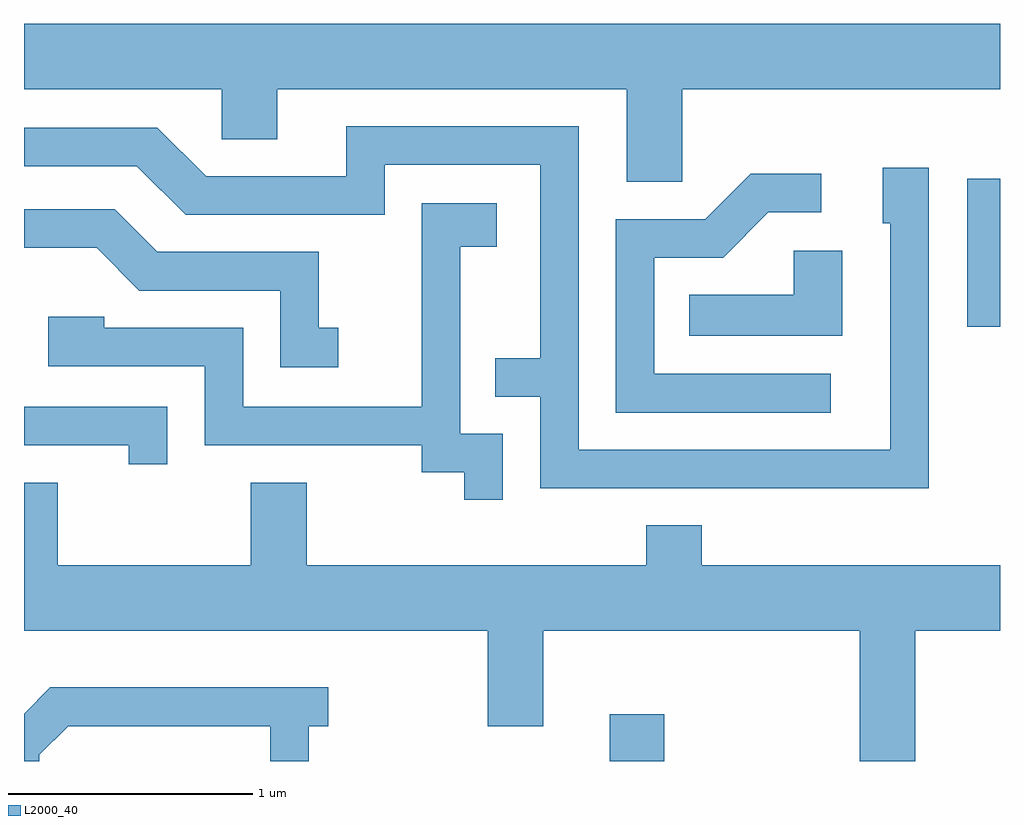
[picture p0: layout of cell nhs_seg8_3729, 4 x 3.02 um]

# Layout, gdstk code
import gdstk
lib = gdstk.Library(unit=1e-6, precision=1e-09)
def R(c, l, rs):  # rectangles x0, y0, x1, y1
    for r in rs: c.add(gdstk.rectangle(r[:2], r[2:], *l))
def P(c, l, *ps):  # polygons
    for p in ps: c.add(gdstk.Polygon(p, *l))
L2000_40 = (2000, 40)

nhs_seg8_3729 = lib.new_cell('nhs_seg8_3729')
R(nhs_seg8_3729, L2000_40, [(300.011,1820.342,300.234,1820.534), (301.476,1822.123,301.611,1822.729)])
P(nhs_seg8_3729, L2000_40, [(300.309,1823.096),(301.611,1823.096),(301.611,1823.364),(297.611,1823.364),(297.611,1823.096),(298.421,1823.096),(298.421,1822.891),(298.649,1822.891),(298.649,1823.096),(300.081,1823.096),(300.081,1822.716),(300.309,1822.716)],
  [(301.319,1822.774),(301.131,1822.774),(301.131,1822.546),(301.161,1822.546),(301.161,1821.619),(299.884,1821.619),(299.884,1822.944),(298.931,1822.944),(298.931,1822.739),(298.357,1822.739),(298.157,1822.939),(297.611,1822.939),(297.611,1822.781),(298.074,1822.781),(298.274,1822.581),(299.089,1822.581),(299.089,1822.786),(299.726,1822.786),(299.726,1821.994),(299.543,1821.994),(299.543,1821.836),(299.726,1821.836),(299.726,1821.461),(301.319,1821.461)],
  [(300.918,1821.929),(300.194,1821.929),(300.194,1822.406),(300.477,1822.406),(300.662,1822.591),(300.878,1822.591),(300.878,1822.749),(300.589,1822.749),(300.404,1822.564),(300.036,1822.564),(300.036,1821.771),(300.918,1821.771)],
  [(299.574,1821.684),(299.399,1821.684),(299.399,1822.451),(299.549,1822.451),(299.549,1822.629),(299.241,1822.629),(299.241,1821.794),(298.509,1821.794),(298.509,1822.119),(297.939,1822.119),(297.939,1822.164),(297.711,1822.164),(297.711,1821.961),(298.351,1821.961),(298.351,1821.636),(299.241,1821.636),(299.241,1821.526),(299.416,1821.526),(299.416,1821.413),(299.574,1821.413)],
  [(298.898,1822.119),(298.819,1822.119),(298.819,1822.429),(298.157,1822.429),(297.982,1822.604),(297.611,1822.604),(297.611,1822.446),(297.909,1822.446),(298.084,1822.271),(298.661,1822.271),(298.661,1821.956),(298.898,1821.956)],
  [(300.964,1822.434),(300.766,1822.434),(300.766,1822.254),(300.338,1822.254),(300.338,1822.086),(300.964,1822.086)],
  [(298.199,1821.794),(297.611,1821.794),(297.611,1821.636),(298.041,1821.636),(298.041,1821.558),(298.199,1821.558)],
  [(301.264,1820.876),(301.611,1820.876),(301.611,1821.144),(300.389,1821.144),(300.389,1821.309),(300.161,1821.309),(300.161,1821.144),(298.769,1821.144),(298.769,1821.484),(298.541,1821.484),(298.541,1821.144),(297.749,1821.144),(297.749,1821.484),(297.611,1821.484),(297.611,1820.876),(299.511,1820.876),(299.511,1820.486),(299.739,1820.486),(299.739,1820.876),(301.036,1820.876),(301.036,1820.342),(301.264,1820.342)],
  [(297.674,1820.369),(297.792,1820.486),(298.621,1820.486),(298.621,1820.342),(298.779,1820.342),(298.779,1820.486),(298.858,1820.486),(298.858,1820.644),(297.719,1820.644),(297.611,1820.537),(297.611,1820.342),(297.674,1820.342)])

lib.write_gds('nhs_seg8_3729.gds')
